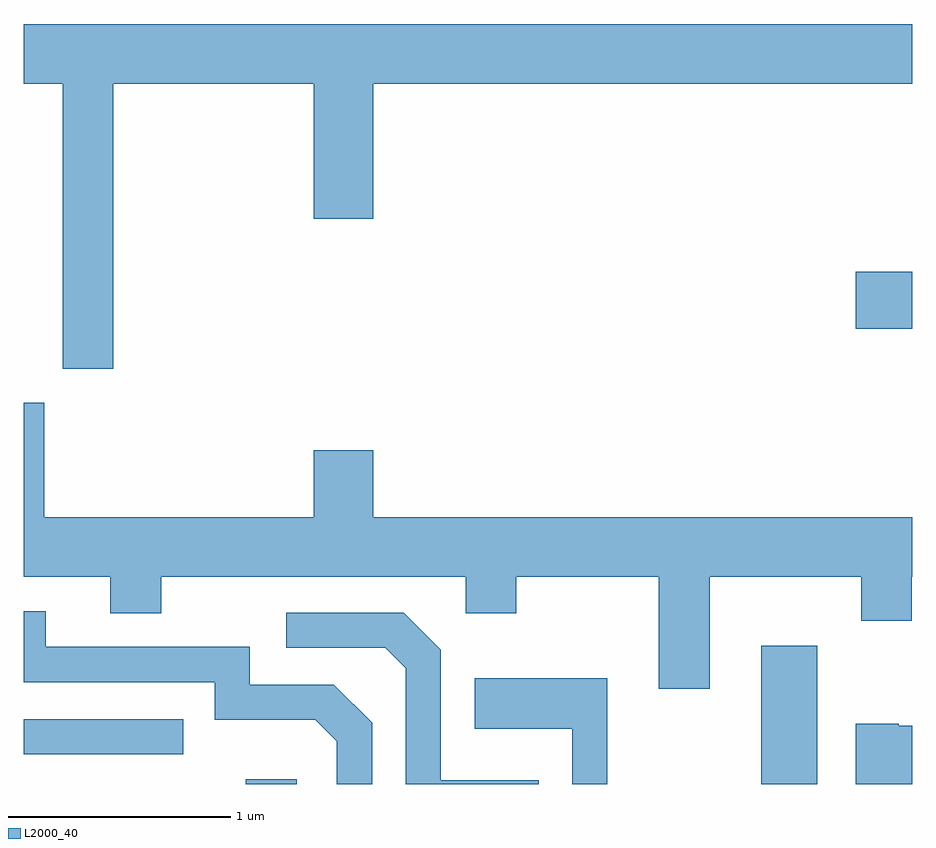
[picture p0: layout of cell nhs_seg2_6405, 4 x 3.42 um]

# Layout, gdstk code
import gdstk
lib = gdstk.Library(unit=1e-6, precision=1e-09)
def R(c, l, rs):  # rectangles x0, y0, x1, y1
    for r in rs: c.add(gdstk.rectangle(r[:2], r[2:], *l))
def P(c, l, *ps):  # polygons
    for p in ps: c.add(gdstk.Polygon(p, *l))
L2000_40 = (2000, 40)

nhs_seg2_6405 = lib.new_cell('nhs_seg2_6405')
R(nhs_seg2_6405, L2000_40, [(374.611,1071.802,374.839,1071.824), (376.931,1071.802,377.184,1072.424), (373.611,1071.936,374.328,1072.094), (377.356,1073.851,377.611,1074.109)])
P(nhs_seg2_6405, L2000_40, [(374.014,1074.956),(374.916,1074.956),(374.916,1074.346),(375.184,1074.346),(375.184,1074.956),(377.611,1074.956),(377.611,1075.224),(373.611,1075.224),(373.611,1074.956),(373.786,1074.956),(373.786,1073.671),(374.014,1073.671)],
  [(376.699,1072.736),(377.381,1072.736),(377.381,1072.536),(377.609,1072.536),(377.609,1072.736),(377.611,1072.736),(377.611,1073.004),(375.184,1073.004),(375.184,1073.304),(374.916,1073.304),(374.916,1073.004),(373.704,1073.004),(373.704,1073.519),(373.611,1073.519),(373.611,1072.736),(374.001,1072.736),(374.001,1072.571),(374.229,1072.571),(374.229,1072.736),(375.601,1072.736),(375.601,1072.571),(375.829,1072.571),(375.829,1072.736),(376.471,1072.736),(376.471,1072.231),(376.699,1072.231)],
  [(375.179,1072.077),(375.007,1072.249),(374.629,1072.249),(374.629,1072.419),(373.709,1072.419),(373.709,1072.579),(373.611,1072.579),(373.611,1072.261),(374.471,1072.261),(374.471,1072.091),(374.924,1072.091),(375.021,1071.994),(375.021,1071.802),(375.179,1071.802)],
  [(375.929,1071.819),(375.489,1071.819),(375.489,1072.407),(375.322,1072.574),(374.793,1072.574),(374.793,1072.416),(375.239,1072.416),(375.331,1072.324),(375.331,1071.802),(375.929,1071.802)],
  [(376.239,1072.279),(375.641,1072.279),(375.641,1072.051),(376.081,1072.051),(376.081,1071.802),(376.239,1071.802)],
  [(377.611,1072.064),(377.55,1072.064),(377.55,1072.074),(377.356,1072.074),(377.356,1071.802),(377.611,1071.802)])

lib.write_gds('nhs_seg2_6405.gds')
